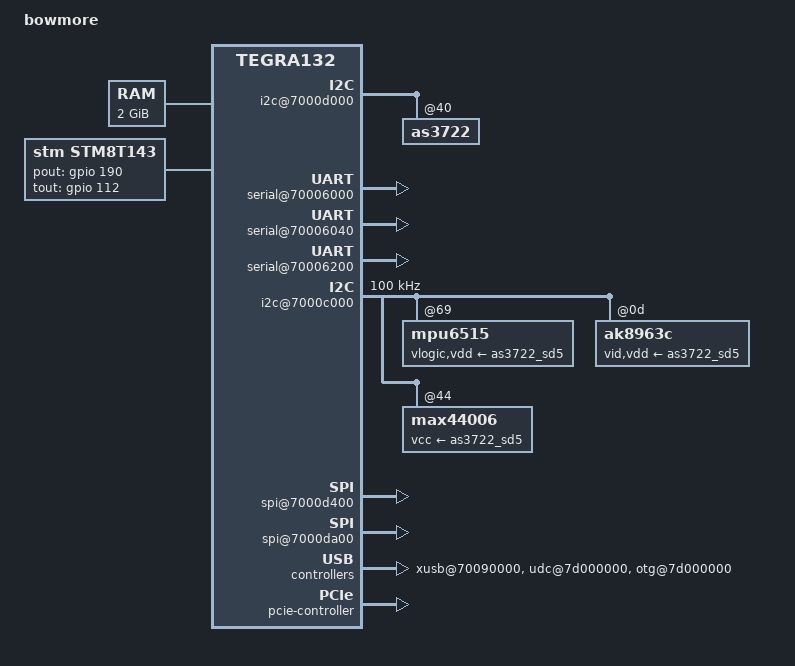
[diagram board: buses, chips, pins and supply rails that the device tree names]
/*
 * arch/arm64/boot/dts/tegra132-bowmore-e1973-1000-a01-00.dts
 *
 * Copyright (c) 2014, NVIDIA CORPORATION.  All rights reserved.
 *
 * This program is free software; you can redistribute it and/or modify
 * it under the terms of the GNU General Public License as published by
 * the Free Software Foundation; either version 2 of the License, or
 * (at your option) any later version.
 *
 * This program is distributed in the hope that it will be useful, but WITHOUT
 * ANY WARRANTY; without even the implied warranty of MERCHANTABILITY or
 * FITNESS FOR A PARTICULAR PURPOSE.  See the GNU General Public License for
 * more details.
 *
 * You should have received a copy of the GNU General Public License along
 * with this program; if not, write to the Free Software Foundation, Inc.,
 * 51 Franklin Street, Fifth Floor, Boston, MA  02110-1301, USA.
 */
/dts-v1/;

#include "tegra132.dtsi"
#include "tegra124-platforms/tegra124-tn8-keys-e1780-1100-a02.dtsi"
#include "tegra124-platforms/tegra124-ardbeg-pmic-e1733-1000-a00.dtsi"
#include "tegra124-platforms/tegra124-ardbeg-fixed-e1733-1000-a00.dtsi"
#include "tegra132-platforms/tegra132-bowmore-sensor-e1934-1000-a00.dtsi"
#include "tegra132-platforms/tegra132-bowmore-camera-a00.dtsi"

/ {
	model = "bowmore";
	compatible = "nvidia,bowmore", "nvidia,tegra132";
	nvidia,boardids = "1973:1000:01;1733:1000:00";
	nvidia,dtsfilename = __FILE__;
	nvidia,proc-boardid = "1973:1000:01";
	nvidia,pmu-boardid = "1733:1000:00";
	#address-cells = <2>;
	#size-cells = <2>;

	chosen {
		bootargs = "tegraid=40.0.0.00.00 vmalloc=256M video=tegrafb console=ttyS0,115200n8 earlyprintk";
		linux,initrd-start = <0x85000000>;
		linux,initrd-end = <0x851bc400>;
	};
	host1x {
		dsi {
			nvidia,controller-vs = <1>;
			status = "disabled";
			panel-p-wuxga-10-1 {
				nvidia,panel-rst-gpio = <&gpio TEGRA_GPIO(H, 3) 0>; /* PH3 */
				nvidia,panel-bl-pwm-gpio = <&gpio TEGRA_GPIO(H, 1) 0>; /* PH1 */
			};
		};
	};
	i2c@7000d000 {
		as3722@40 {
			ams,minor-rev = <1>;
		};
	};
	serial@70006000 {
		compatible = "nvidia,tegra114-hsuart";
		status = "okay";
	};

	serial@70006040 {
		compatible = "nvidia,tegra114-hsuart";
		status = "okay";
	};

	serial@70006200 {
		compatible = "nvidia,tegra114-hsuart";
		status = "okay";
	};

	memory@0x80000000 {
		device_type = "memory";
		reg = <0x0 0x80000000 0x0 0x80000000>;
	};

	i2c@7000c000 {
		clock-frequency = <100000>;
		mpu6515@69 {
			vlogic-supply = <&as3722_sd5>;
			vdd-supply = <&as3722_sd5>;
		};

		ak8963c@0d {
			vid-supply = <&as3722_sd5>;
			vdd-supply = <&as3722_sd5>;
		};

		max44006@44 {
			vcc-supply = <&as3722_sd5>;
		};
	 };

	i2c@7000d000 {
		nvidia,bit-banging-xfer-after-shutdown;
	};

	spi@7000d400 {
		status = "okay";
		spi-max-frequency = <25000000>;
	};

	spi@7000da00 {
		status = "okay";
		spi-max-frequency = <25000000>;
	};

	pmc@7000e400 {
		status = "okay";
		nvidia,invert-interrupt;
		nvidia,suspend-mode = <0>;
		nvidia,cpu-pwr-good-time = <500>;
		nvidia,cpu-pwr-off-time = <300>;
		nvidia,core-pwr-good-time = <3845 3845>;
		nvidia,core-pwr-off-time = <2000>;
		nvidia,core-power-req-active-high;
		nvidia,sys-clock-req-active-high;
	};

	stm8t143 {
		compatible = "stm,stm8t143";
		pout-gpio = <&gpio 190 0>;
		tout-gpio = <&gpio 112 0>;
	};

	xusb@70090000 {
		/* nvidia,uses_external_pmic;
		nvidia,gpio_controls_muxed_ss_lanes; */
		nvidia,gpio_ss1_sata = <0>;
		nvidia,portmap = <0x703>; /* SSP0, SSP1 USB2P0, USB2P1, USBP2 */
		nvidia,ss_portmap = <0x20>; /* SSP0 on USB2P0, SSP1 on USB2P2 */
		nvidia,lane_owner = <6>; /* USB3P0 USB3P1 */
		nvidia,ulpicap = <0>; /* No ulpi support. can we remove */
		/* hsic config values in order defined in structure */
		nvidia,hsic0 = /bits/8 <0x1 0x1 0x8 0xa 0 0 1 0x22 0>;
		status = "okay";
	};

	udc@7d000000 {
		nvidia,port_otg;
		nvidia,charging_supported;
		nvidia,id_det_type = <1>;
		#extcon-cells = <1>;
		avdd_usb-supply = <&as3722_gpio2>;
		avdd_pll_utmip-supply = <&as3722_sd5>;
		status = "okay";
	};

	otg@7d000000 {
		nvidia,id_det_type = <1>;
		nvidia,id_extcon_dev_name = "as3722-extcon";
		extcon-cables = <&as3722 0>;
		extcon-cable-names = "id";
		#extcon-cells = <1>;
		status = "okay";
	};

	pcie-controller {
		nvidia,port0_status = <1>;
		nvidia,port1_status = <1>;
		nvidia,hot-plug-gpio = <&gpio TEGRA_GPIO(O, 1) 0>;
		nvidia,wake-gpio = <&gpio TEGRA_GPIO(DD, 3) 0>;
		hvdd-pex-supply = <&as3722_gpio2>;
		hvdd-pex-pll-e-supply = <&as3722_gpio2>;
		dvddio-pex-supply = <&as3722_sd4>;
		avddio-pex-supply = <&as3722_sd4>;
		avdd-pex-pll-supply = <&as3722_sd4>;
		vddio-pex-ctl-supply = <&as3722_sd4>;
		status = "okay";
	};

	denver_cpuidle_pmic {
		type = <4>; /* TI TPS65913 2.3 */
		retention-voltage = <16>;
		lock = <0>;
	};

	psy_extcon {
		compatible = "power-supply-extcon";
		extcon-cables = <&udc 1 &udc 2 &udc 3
				&udc 4 &udc 5 &udc 6
				&udc 7 &udc 8 &udc 9
				&udc 10 &otg 0>;
		extcon-cable-names = "usb-charger", "ta-charger", "maxim-charger",
				"qc2-charger", "downstream-charger","fast-charger",
				"slow-charger", "apple-500ma", "apple-1a",
				"apple-2a", "y-cable";
	};
};
